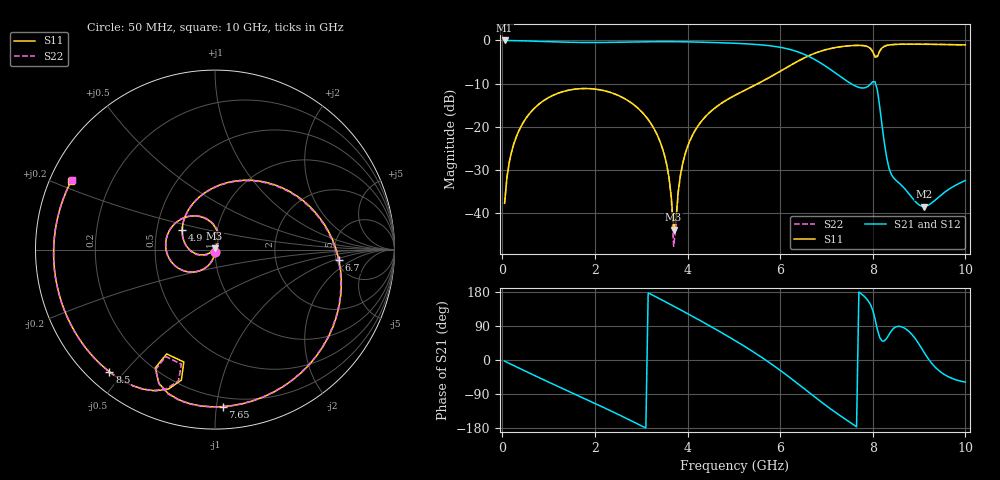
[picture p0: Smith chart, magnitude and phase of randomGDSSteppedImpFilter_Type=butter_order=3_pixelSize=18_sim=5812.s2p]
! freq	dB(S11)	phase(S11)	dB(S12)	phase(S12)
!  dB(S21)	phase(S21)	dB(S22)	phase(S22)
!S-par simulation data
#  GHz  S  DB  R 50
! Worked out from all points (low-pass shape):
!   200 points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, 50 MHz to 10 GHz, reference 50 ohm
!   highest |S21| = -0.01 dB at 50 MHz (marker M1); lowest = -38.4 dB at 9.1 GHz (marker M2)
!   |S21| within 3 dB of the highest: start of sweep to 6.472 GHz
!   lowest |S11| = -43.7 dB at 3.7 GHz (marker M3), VSWR 1.01, Z = 49.8 + j0.616 ohm
!   |S11| at or under -10 dB: start of sweep to 5.517 GHz
!   |S22| runs from -47.6 to -0.9 dB; largest |S21 - S12| = 0
!   S11 on the Smith chart (normalised r, x): 50 MHz: 1.00, -0.03; 4.9 GHz: 0.68, +0.16; 6.7 GHz: 5.24, -1.21; 7.65 GHz: 0.14, -1.04; 8.5 GHz: 0.06, -0.46; 10 GHz: 0.06, +0.23
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0.05  -37.68 -92.3  -0.01 -3.0  -0.01 -3.0  -37.68 -92.3
0.2  -25.80 -101.9  -0.03 -11.9  -0.03 -11.9  -25.80 -101.9
0.5  -18.19 -119.9  -0.11 -29.5  -0.11 -29.5  -18.19 -120.0
1.75  -11.12 169.1  -0.47 -100.5  -0.47 -100.5  -11.12 168.8
2.7  -13.83 115.1  -0.38 -155.3  -0.38 -155.3  -13.83 114.2
3.4  -23.22 74.7  -0.28 161.4  -0.28 161.4  -23.23 71.7
3.6  -31.72 68.7  -0.28 148.6  -0.28 148.6  -31.85 60.7
3.7  -43.74 108.0  -0.28 142.1  -0.28 142.1  -47.59 76.8
3.85  -30.92 -147.9  -0.30 132.3  -0.30 132.3  -31.05 -140.9
4  -24.57 -152.7  -0.33 122.4  -0.33 122.4  -24.61 -149.5
4.9  -13.42 148.9  -0.61 60.5  -0.61 60.5  -13.43 149.2
5.05  -12.55 138.1  -0.67 49.6  -0.67 49.6  -12.55 138.2
5.8  -8.36 78.8  -1.26 -9.7  -1.26 -9.7  -8.37 78.3
6.3  -5.28 33.5  -2.36 -54.8  -2.36 -54.8  -5.29 32.8
6.7  -3.18 -5.0  -4.14 -93.1  -4.14 -93.1  -3.18 -5.7
7.1  -1.84 -42.1  -6.82 -130.1  -6.82 -130.1  -1.84 -42.6
7.65  -1.15 -87.2  -10.67 -176.2  -10.67 -176.2  -1.15 -87.5
8.05  -3.87 -114.9  -9.56 107.7  -9.56 107.7  -3.66 -114.7
8.35  -1.06 -120.8  -29.54 66.8  -29.54 66.8  -1.04 -121.5
8.5  -0.92 -130.8  -32.34 87.5  -32.34 87.5  -0.91 -131.3
9.1  -0.88 -163.0  -38.42 21.8  -38.42 21.8  -0.88 -163.3
10  -1.04 154.3  -32.39 -58.3  -32.39 -58.3  -1.03 154.2
